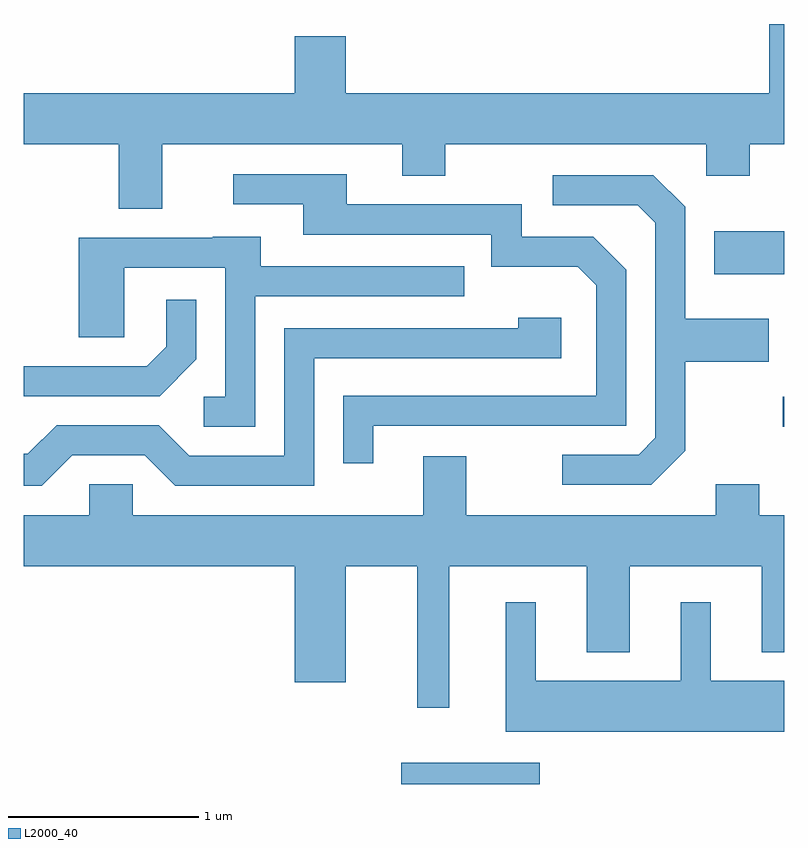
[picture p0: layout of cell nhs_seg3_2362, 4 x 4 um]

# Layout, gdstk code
import gdstk
lib = gdstk.Library(unit=1e-6, precision=1e-09)
def R(c, l, rs):  # rectangles x0, y0, x1, y1
    for r in rs: c.add(gdstk.rectangle(r[:2], r[2:], *l))
def P(c, l, *ps):  # polygons
    for p in ps: c.add(gdstk.Polygon(p, *l))
L2000_40 = (2000, 40)

nhs_seg3_2362 = lib.new_cell('nhs_seg3_2362')
R(nhs_seg3_2362, L2000_40, [(255.596,1215.892,256.324,1216.004), (257.603,1217.771,257.611,1217.929), (257.241,1218.571,257.611,1218.799)])
P(nhs_seg3_2362, L2000_40, [(254.339,1219.256),(255.601,1219.256),(255.601,1219.091),(255.829,1219.091),(255.829,1219.256),(257.201,1219.256),(257.201,1219.091),(257.429,1219.091),(257.429,1219.256),(257.611,1219.256),(257.611,1219.888),(257.531,1219.888),(257.531,1219.524),(255.304,1219.524),(255.304,1219.824),(255.036,1219.824),(255.036,1219.524),(253.611,1219.524),(253.611,1219.256),(254.111,1219.256),(254.111,1218.916),(254.339,1218.916)],
  [(255.449,1217.776),(256.779,1217.776),(256.779,1218.597),(256.606,1218.769),(256.229,1218.769),(256.229,1218.939),(255.309,1218.939),(255.309,1219.099),(254.713,1219.099),(254.713,1218.941),(255.081,1218.941),(255.081,1218.781),(256.071,1218.781),(256.071,1218.611),(256.524,1218.611),(256.621,1218.514),(256.621,1217.934),(255.291,1217.934),(255.291,1217.578),(255.449,1217.578)],
  [(257.089,1217.644),(257.089,1218.111),(257.529,1218.111),(257.529,1218.339),(257.089,1218.339),(257.089,1218.927),(256.921,1219.094),(256.392,1219.094),(256.392,1218.936),(256.839,1218.936),(256.931,1218.844),(256.931,1217.712),(256.844,1217.624),(256.443,1217.624),(256.443,1217.466),(256.912,1217.466)],
  [(254.829,1218.456),(255.928,1218.456),(255.928,1218.614),(254.859,1218.614),(254.859,1218.769),(254.605,1218.769),(254.605,1218.764),(253.901,1218.764),(253.901,1218.241),(254.139,1218.241),(254.139,1218.606),(254.671,1218.606),(254.671,1217.929),(254.558,1217.929),(254.558,1217.771),(254.829,1217.771)],
  [(254.519,1218.124),(254.519,1218.438),(254.361,1218.438),(254.361,1218.192),(254.259,1218.089),(253.611,1218.089),(253.611,1217.931),(254.327,1217.931)],
  [(253.867,1217.621),(254.249,1217.621),(254.409,1217.461),(255.139,1217.461),(255.139,1218.131),(256.439,1218.131),(256.439,1218.344),(256.211,1218.344),(256.211,1218.289),(254.981,1218.289),(254.981,1217.619),(254.482,1217.619),(254.322,1217.779),(253.784,1217.779),(253.634,1217.629),(253.611,1217.629),(253.611,1217.461),(253.707,1217.461)],
  [(257.251,1217.469),(257.251,1217.304),(255.939,1217.304),(255.939,1217.614),(255.711,1217.614),(255.711,1217.304),(254.184,1217.304),(254.184,1217.469),(253.956,1217.469),(253.956,1217.304),(253.611,1217.304),(253.611,1217.036),(255.036,1217.036),(255.036,1216.426),(255.304,1216.426),(255.304,1217.036),(255.681,1217.036),(255.681,1216.293),(255.849,1216.293),(255.849,1217.036),(256.571,1217.036),(256.571,1216.586),(256.799,1216.586),(256.799,1217.036),(257.491,1217.036),(257.491,1216.586),(257.611,1216.586),(257.611,1217.304),(257.479,1217.304),(257.479,1217.469)],
  [(257.611,1216.434),(257.224,1216.434),(257.224,1216.848),(257.066,1216.848),(257.066,1216.434),(256.304,1216.434),(256.304,1216.848),(256.146,1216.848),(256.146,1216.166),(257.611,1216.166)])

lib.write_gds('nhs_seg3_2362.gds')
